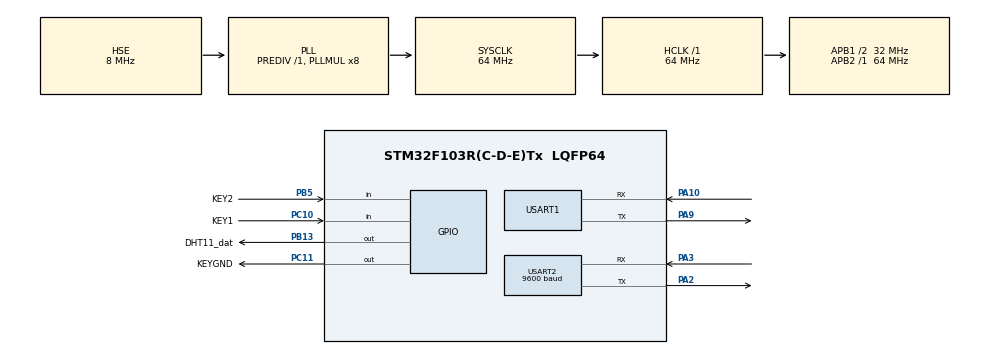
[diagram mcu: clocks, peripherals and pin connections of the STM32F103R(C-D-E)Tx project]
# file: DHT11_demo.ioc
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Mcu.Family=STM32F1
Mcu.Name=STM32F103R(C-D-E)Tx
Mcu.Package=LQFP64
NVIC.PriorityGroup=NVIC_PRIORITYGROUP_4
NVIC.TIM2_IRQn=true\:0\:0\:false\:false\:true\:true\:true
NVIC.USART2_IRQn=true\:0\:0\:false\:false\:true\:true\:true
PA10.Mode=Asynchronous
PA10.Signal=USART1_RX
PA13.Mode=Serial_Wire
PA13.Signal=SYS_JTMS-SWDIO
PA14.Mode=Serial_Wire
PA14.Signal=SYS_JTCK-SWCLK
PA2.Mode=Asynchronous
PA2.Signal=USART2_TX
PA3.Mode=Asynchronous
PA3.Signal=USART2_RX
PA9.Mode=Asynchronous
PA9.Signal=USART1_TX
PB13.GPIO_Label=DHT11_dat
PB13.GPIO_Speed=GPIO_SPEED_FREQ_HIGH
PB13.Signal=GPIO_Output
PB5.GPIO_Label=KEY2
PB5.Signal=GPIO_Input
PC10.GPIO_Label=KEY1
PC10.Signal=GPIO_Input
PC11.GPIO_Label=KEYGND
PC11.GPIO_Speed=GPIO_SPEED_FREQ_HIGH
PC11.PinState=GPIO_PIN_RESET
PC11.Signal=GPIO_Output
PD0-OSC_IN.Mode=HSE-External-Oscillator
PD0-OSC_IN.Signal=RCC_OSC_IN
PD1-OSC_OUT.Mode=HSE-External-Oscillator
PD1-OSC_OUT.Signal=RCC_OSC_OUT
ProjectManager.HeapSize=0x200
ProjectManager.StackSize=0x1000
ProjectManager.TargetToolchain=MDK-ARM V5.27
RCC.AHBFreq_Value=64000000
RCC.APB1CLKDivider=RCC_HCLK_DIV2
RCC.APB1Freq_Value=32000000
RCC.APB1TimFreq_Value=64000000
RCC.APB2Freq_Value=64000000
RCC.APB2TimFreq_Value=64000000
RCC.HCLKFreq_Value=64000000
RCC.PLLMUL=RCC_PLL_MUL8
RCC.PLLSourceVirtual=RCC_PLLSOURCE_HSE
RCC.SYSCLKFreq_VALUE=64000000
RCC.SYSCLKSource=RCC_SYSCLKSOURCE_PLLCLK
RCC.USBFreq_Value=64000000
TIM2.Period=1000-1
TIM2.Prescaler=64-1
TIM3.Prescaler=64-1
USART1.VirtualMode=VM_ASYNC
USART2.BaudRate=9600
USART2.VirtualMode=VM_ASYNC
VP_TIM2_VS_ClockSourceINT.Mode=Internal
VP_TIM3_VS_ClockSourceINT.Mode=Internal
board=custom

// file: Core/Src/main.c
/* USER CODE BEGIN Header */
/**
  ******************************************************************************
  * @file           : main.c
  * @brief          : Main program body
  ******************************************************************************
  * @attention
  *
  * <h2><center>&copy; Copyright (c) 2020 STMicroelectronics.
  * All rights reserved.</center></h2>
  *
  * This software component is licensed by ST under BSD 3-Clause license,
  * the "License"; You may not use this file except in compliance with the
  * License. You may obtain a copy of the License at:
  *                        opensource.org/licenses/BSD-3-Clause
  *
  ******************************************************************************
  */
/* USER CODE END Header */
#include "main.h"
#include "tim.h"
#include "usart.h"
#include "gpio.h"

/* USER CODE BEGIN Includes */
#include "hal_key.h"
#include "gizwits_product.h"
#include "common.h"
#include "hal_dht11.h"
#include "hal_delay.h"
/* USER CODE END Includes */

/* USER CODE BEGIN PTD */
uint8_t temperature;
uint8_t humidity;
/* USER CODE END PTD */

/* USER CODE BEGIN PV */
#define GPIO_KEY_NUM 2 ///< Defines the total number of key member
keyTypedef_t singleKey[GPIO_KEY_NUM]; ///< Defines a single key member array pointer
keysTypedef_t keys;
/* USER CODE END PV */

void SystemClock_Config(void);

/* USER CODE BEGIN 0 */
/**
* key1 short press handle
* @param none
* @return none
*/
void key1ShortPress(void)
{
    GIZWITS_LOG("KEY1 PRESS ,Production Mode\n");
    gizwitsSetMode(WIFI_PRODUCTION_TEST);
}

/**
* key1 long press handle
* @param none
* @return none
*/
void key1LongPress(void)
{
    GIZWITS_LOG("KEY1 PRESS LONG ,Wifi Reset\n");
    gizwitsSetMode(WIFI_RESET_MODE);

}

/**
* key2 short press handle
* @param none
* @return none
*/
void key2ShortPress(void)
{
    GIZWITS_LOG("KEY2 PRESS ,Soft AP mode\n");
    #if !MODULE_TYPE
    gizwitsSetMode(WIFI_SOFTAP_MODE);
    #endif
}

/**
* key2 long press handle
* @param none
* @return none
*/
void key2LongPress(void)
{
    //AirLink mode
    GIZWITS_LOG("KEY2 PRESS LONG ,AirLink mode\n");
    #if !MODULE_TYPE
    gizwitsSetMode(WIFI_AIRLINK_MODE);
    #endif
}

/**
* Key init function
* @param none
* @return none
*/
void keyInit(void)
{
    singleKey[0] = keyInitOne(NULL, KEY1_GPIO_Port, KEY1_Pin, key1ShortPress, key1LongPress);
    singleKey[1] = keyInitOne(NULL, KEY2_GPIO_Port, KEY2_Pin, key2ShortPress, key2LongPress);
    keys.singleKey = (keyTypedef_t *)&singleKey;
    keyParaInit(&keys);
}
/* USER CODE END 0 */

int main(void)
{

  /* MCU Configuration--------------------------------------------------------*/

  /* Reset of all peripherals, Initializes the Flash interface and the Systick. */
  HAL_Init();

  /* Configure the system clock */
  SystemClock_Config();

  /* Initialize all configured peripherals */
  MX_GPIO_Init();
  MX_TIM2_Init();
  MX_TIM3_Init();
  MX_USART1_UART_Init();
  MX_USART2_UART_Init();
  /* USER CODE BEGIN 2 */
  timerInit();
	uartInit();

	userInit();
	gizwitsInit();
	keyInit();
	GIZWITS_LOG("MCU Init Success \n");

	 if(dht11Init()) //Init DHT11
	 {
		printf("DHT11 Init Failed!\n");
	 }
  /* USER CODE END 2 */

  /* Infinite loop */
  while (1)
  {

    /* USER CODE BEGIN 3 */
		HAL_Delay(500);
		dht11Read(&temperature, &humidity); //Read DHT11 Value
		printf("temperature=%d,humidity=%d \n",temperature,humidity);
		userHandle();
		gizwitsHandle((dataPoint_t *)&currentDataPoint);

  }
  /* USER CODE END 3 */
}

void SystemClock_Config(void)
{
  RCC_OscInitTypeDef RCC_OscInitStruct = {0};
  RCC_ClkInitTypeDef RCC_ClkInitStruct = {0};

  /** Initializes the RCC Oscillators according to the specified parameters
  * in the RCC_OscInitTypeDef structure.
  */
  RCC_OscInitStruct.OscillatorType = RCC_OSCILLATORTYPE_HSE;
  RCC_OscInitStruct.HSEState = RCC_HSE_ON;
  RCC_OscInitStruct.HSEPredivValue = RCC_HSE_PREDIV_DIV1;
  RCC_OscInitStruct.HSIState = RCC_HSI_ON;
  RCC_OscInitStruct.PLL.PLLState = RCC_PLL_ON;
  RCC_OscInitStruct.PLL.PLLSource = RCC_PLLSOURCE_HSE;
  RCC_OscInitStruct.PLL.PLLMUL = RCC_PLL_MUL8;
  if (HAL_RCC_OscConfig(&RCC_OscInitStruct) != HAL_OK)
  {
    Error_Handler();
  }
  /** Initializes the CPU, AHB and APB buses clocks
  */
  RCC_ClkInitStruct.ClockType = RCC_CLOCKTYPE_HCLK|RCC_CLOCKTYPE_SYSCLK
                              |RCC_CLOCKTYPE_PCLK1|RCC_CLOCKTYPE_PCLK2;
  RCC_ClkInitStruct.SYSCLKSource = RCC_SYSCLKSOURCE_PLLCLK;
  RCC_ClkInitStruct.AHBCLKDivider = RCC_SYSCLK_DIV1;
  RCC_ClkInitStruct.APB1CLKDivider = RCC_HCLK_DIV2;
  RCC_ClkInitStruct.APB2CLKDivider = RCC_HCLK_DIV1;

  if (HAL_RCC_ClockConfig(&RCC_ClkInitStruct, FLASH_LATENCY_2) != HAL_OK)
  {
    Error_Handler();
  }
}

void Error_Handler(void)
{
  __disable_irq();
  while (1)
  {
  }
}

/************************ (C) COPYRIGHT STMicroelectronics *****END OF FILE****/
